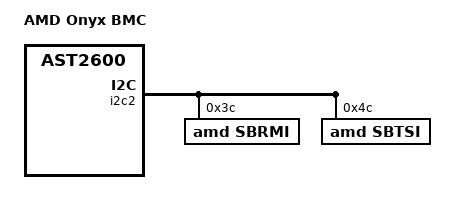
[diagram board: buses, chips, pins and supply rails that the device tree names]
// SPDX-License-Identifier: GPL-2.0+
// Copyright (c) 2021 - 2024 AMD Inc.
// Author: Supreeth Venkatesh <supreeth.venkatesh@amd.com>

/dts-v1/;

#include "ast2600-amd-bmc-common.dtsi"

/ {
	model = "AMD Onyx BMC";
	compatible = "amd,onyx-bmc", "aspeed,ast2600";
};

&i2c2 {
	// P0 APML - i2c10
	status = "okay";
	bus-frequency = <400000>;

	sbrmi@3c {
	compatible = "amd,sbrmi";
		reg = <0x3c>;
	};

	sbtsi@4c {
		compatible = "amd,sbtsi";
		reg = <0x4c>;
	};
};
